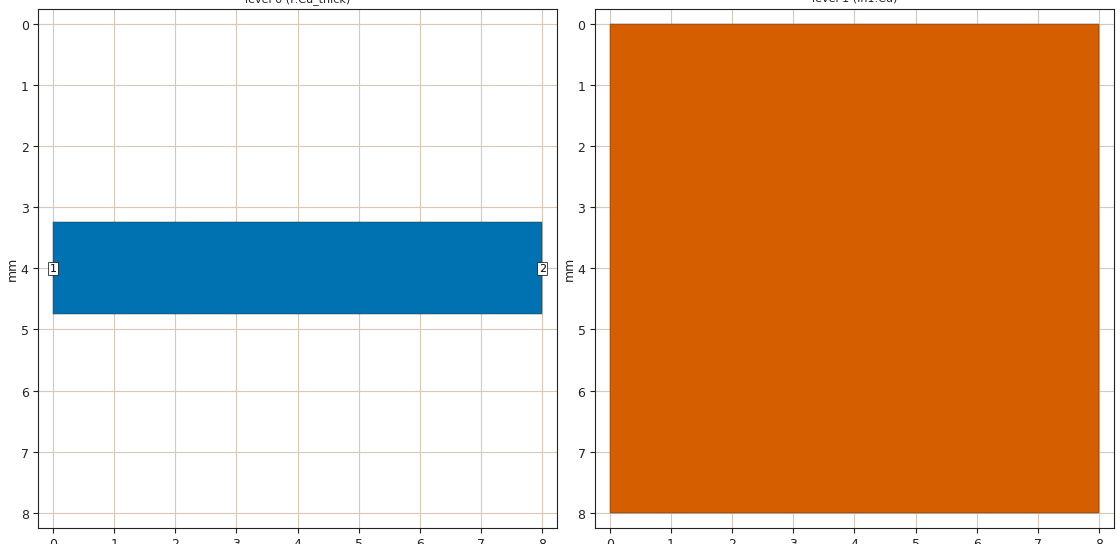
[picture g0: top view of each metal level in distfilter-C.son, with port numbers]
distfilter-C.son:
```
FTYP SONPROJ 19 ! Sonnet Project File
VER 18.54
HEADER
LIC antikernel2.1.51813
DAT 09/29/2022 09:27:47
BUILT_BY_CREATED xgeom 18.54 09/23/2022 20:17:08
BUILT_BY_SAVED sonnet 18.54
MDATE 09/29/2022 09:27:47
HDATE 09/29/2022 09:27:47
ANN Created by dxfgeo, Sonnet Software Inc.
END HEADER
DIM
ANG DEG
CAP FF
CON /OH
FREQ GHZ
IND PH
LNG MM
RES OH
END DIM
CONTROL
VARSWP
OPTIONS  -dj
SPEED 0
CACHE_ABS 2
Q_ACC N
END CONTROL
GEO
SYM
TMET "Free Space" 0 FREESPACE 376.7303136 0 0 0
BMET "Free Space" 0 FREESPACE 376.7303136 0 0 0
MET "Copper_1oz+plated_thick_up" 1 TMM 58000000 0.5 0.0432 2
MET "Copper_1oz+plated_thin" 4 NOR 58000000 0.5 0.0432 
MET "Copper_0.5oz_thin" 2 NOR 58000000 0.5 0.0175 
MET "Copper_1oz+plated_thick_down" 3 TMM 58000000 0.5 0.0432 2 CDVY TDWN
MET "Copper 35um" 1 VOL 58000000 0.035
BOX 4 8 8 640 640 20 0
      10 1 1 0 0 0 0 "Air"
      0.2021 3.61 1 0.0092 0 0 0 "Isola_FR408HR"
      1.1938 3.61 1 0.0092 0 0 0 "Isola_FR408HR"
      0.2021 3.61 1 0.0092 0 0 0 "Isola_FR408HR"
      10 1 1 0 0 0 0 "Air"
TECHLAY VIA Via1 L3D0 -7 -65534 CAD Via1 drawing 
VIA POLYGON
0 0 4 N 228 1 1 100 100 0 0 0 Y
TOLEVEL 3 RING NOCOVERS
END
END
TECHLAY METAL F.Cu_thick L1D0 -1 -65534 CAD F.Cu drawing 
0 0 0 N 98 1 1 100 100 0 0 0 Y
END
END
TECHLAY METAL F.Cu_thin <UNSPECIFIED> -2 -65534 CAD F.Cu_thin drawing 
0 0 1 N 100 1 1 100 100 0 0 0 Y
END
END
TECHLAY METAL In1.Cu L2D0 -3 -65534 CAD In1.Cu drawing 
1 0 2 N 103 1 1 100 100 0 0 0 Y
END
END
TECHLAY METAL In2.Cu <UNSPECIFIED> -4 -65534 CAD In2.Cu drawing 
2 0 2 N 106 1 1 100 100 0 0 0 Y
END
END
TECHLAY METAL B.Cu_thin <UNSPECIFIED> -6 -65534 CAD B.Cu_thin drawing 
3 0 1 N 109 1 1 100 100 0 0 0 Y
END
END
TECHLAY METAL B.Cu_thick <UNSPECIFIED> -5 -65534 CAD B.Cu drawing 
3 0 3 N 111 1 1 100 100 0 0 0 Y
END
END
DIM STD YDIR -1
POS -0.3455796718 -0.1344317981
NOM 1.5
REF1 POLY 222 1
3
REF2 POLY 222 1
0
END
LORGN 0 8 U 
POR1 BOX
POLY 222 1
3
1 50 0 0 0 0 4 
POR1 BOX
POLY 222 1
1
2 50 0 0 0 8 4 
NUM 2
0 5 0 N 222 1 1 100 100 0 0 0 Y
TLAYNAM F.Cu_thick INH
0 3.25
8 3.25
8 4.75
0 4.75
0 3.25
END
1 5 2 N 83 1 1 100 100 0 0 0 Y
TLAYNAM In1.Cu INH
USER_DAT FromImport
8 0
0 0
0 8
8 8
8 0
END
END GEO
OPT
MAX 100
END OPT
VARSWP
ENABLED Y
FREQ Y AY ABS_ENTRY 0.1 16.0 -1 300 
END
END VARSWP
```
